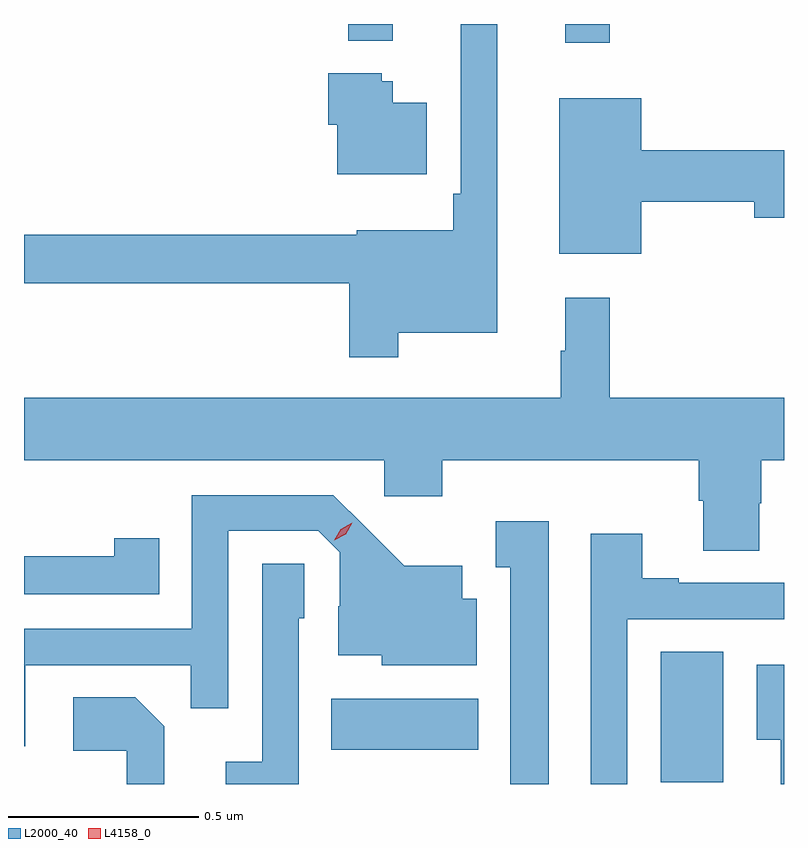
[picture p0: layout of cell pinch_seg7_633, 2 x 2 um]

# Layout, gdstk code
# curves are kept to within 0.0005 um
import gdstk
lib = gdstk.Library(unit=1e-6, precision=1e-09)
def R(c, l, rs):  # rectangles x0, y0, x1, y1
    for r in rs: c.add(gdstk.rectangle(r[:2], r[2:], *l))
def P(c, l, *ps):  # polygons
    for p in ps: c.add(gdstk.Polygon(p, *l))
L2000_40 = (2000, 40)
L4158_0 = (4158, 0)

pinch_seg7_633 = lib.new_cell('pinch_seg7_633')
R(pinch_seg7_633, L2000_40, [(150.224,1038.397,150.388,1038.74), (149.356,1038.482,149.743,1038.616), (149.972,1040.343,150.089,1040.392), (149.401,1040.348,149.519,1040.392)])
P(pinch_seg7_633, L2000_40, [(149.533,1039.58),(149.794,1039.58),(149.794,1040.392),(149.697,1040.392),(149.697,1039.945),(149.677,1039.945),(149.677,1039.849),(149.423,1039.849),(149.423,1039.838),(148.548,1039.838),(148.548,1039.71),(149.404,1039.71),(149.404,1039.515),(149.533,1039.515)],
  [(149.608,1040.185),(149.518,1040.185),(149.518,1040.241),(149.49,1040.241),(149.49,1040.263),(149.348,1040.263),(149.348,1040.127),(149.372,1040.127),(149.372,1039.997),(149.608,1039.997)],
  [(150.172,1039.924),(150.47,1039.924),(150.47,1039.882),(150.548,1039.882),(150.548,1040.06),(150.172,1040.06),(150.172,1040.197),(149.957,1040.197),(149.957,1039.787),(150.172,1039.787)],
  [(150.089,1039.672),(149.972,1039.672),(149.972,1039.532),(149.961,1039.532),(149.961,1039.408),(148.548,1039.408),(148.548,1039.244),(149.496,1039.244),(149.496,1039.149),(149.648,1039.149),(149.648,1039.244),(150.323,1039.244),(150.323,1039.138),(150.335,1039.138),(150.335,1039.006),(150.483,1039.006),(150.483,1039.131),(150.488,1039.131),(150.488,1039.244),(150.548,1039.244),(150.548,1039.408),(150.089,1039.408)],
  [(148.551,1038.705),(148.987,1038.705),(148.987,1038.592),(149.085,1038.592),(149.085,1039.059),(149.322,1039.059),(149.379,1039.002),(149.379,1038.86),(149.375,1038.86),(149.375,1038.731),(149.49,1038.731),(149.49,1038.704),(149.74,1038.704),(149.74,1038.88),(149.701,1038.88),(149.701,1038.967),(149.549,1038.967),(149.362,1039.152),(148.989,1039.152),(148.989,1038.801),(148.548,1038.801),(148.548,1038.492),(148.551,1038.492)],
  [(149.929,1039.084),(149.789,1039.084),(149.789,1038.963),(149.828,1038.963),(149.828,1038.392),(149.929,1038.392)],
  [(150.135,1038.825),(150.548,1038.825),(150.548,1038.921),(150.271,1038.921),(150.271,1038.934),(150.175,1038.934),(150.175,1039.051),(150.039,1039.051),(150.039,1038.392),(150.135,1038.392)],
  [(148.904,1039.039),(148.786,1039.039),(148.786,1038.992),(148.548,1038.992),(148.548,1038.891),(148.904,1038.891)],
  [(149.271,1038.828),(149.286,1038.828),(149.286,1038.971),(149.175,1038.971),(149.175,1038.451),(149.079,1038.451),(149.079,1038.392),(149.271,1038.392)],
  [(150.548,1038.706),(150.476,1038.706),(150.476,1038.509),(150.539,1038.509),(150.539,1038.392),(150.548,1038.392)],
  [(148.917,1038.544),(148.841,1038.62),(148.677,1038.62),(148.677,1038.48),(148.818,1038.48),(148.818,1038.392),(148.917,1038.392)])
P(pinch_seg7_633, L4158_0, [(149.364,1039.033),(149.364,1039.034),(149.381,1039.063),(149.412,1039.079),(149.412,1039.079),(149.412,1039.079),(149.395,1039.049),(149.364,1039.033)])

lib.write_gds('pinch_seg7_633.gds')
